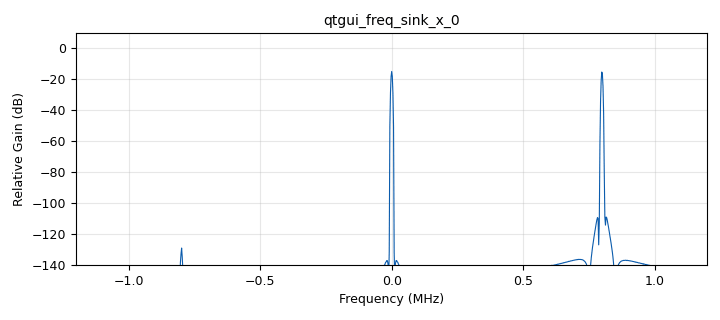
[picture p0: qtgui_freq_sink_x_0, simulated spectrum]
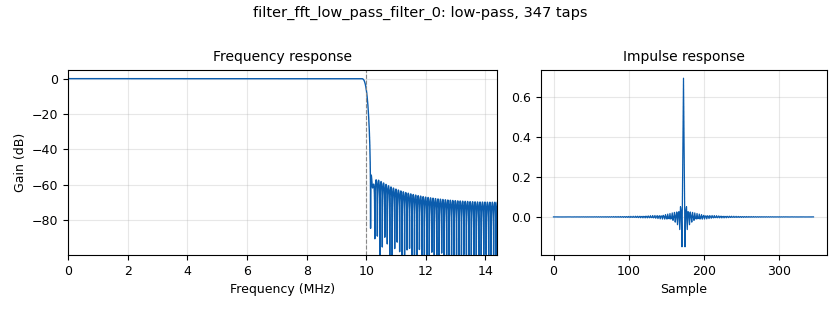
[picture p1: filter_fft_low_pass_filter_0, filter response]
options:
  parameters:
    author: pmaine
    generate_options: qt_gui
    id: ddc
    output_language: python
    title: DDC
  states: {}

blocks:
- name: lo
  id: variable
  parameters:
    value: '28800000'
  states: {}
- name: samp_rate
  id: variable
  parameters:
    value: '28800000'
  states: {}
- name: start_freq
  id: variable
  parameters:
    value: 10e6
  states: {}
- name: analog_sig_source_x_0
  id: analog_sig_source_x
  parameters:
    alias: antenna_source
    amp: '1'
    freq: start_freq
    offset: '0'
    phase: '0'
    samp_rate: samp_rate
    type: float
    waveform: analog.GR_COS_WAVE
  states: {}
- name: analog_sig_source_x_0_0
  id: analog_sig_source_x
  parameters:
    amp: '1'
    freq: start_freq
    offset: '0'
    phase: '0'
    samp_rate: samp_rate
    type: float
    waveform: analog.GR_SIN_WAVE
  states: {}
- name: analog_sig_source_x_1
  id: analog_sig_source_x
  parameters:
    amp: '1'
    comment: This is the signal source from an antenna
    freq: start_freq
    offset: '0'
    phase: '0'
    samp_rate: samp_rate
    type: float
    waveform: analog.GR_COS_WAVE
  states: {}
- name: blocks_float_to_complex_0
  id: blocks_float_to_complex
  parameters: {}
  states: {}
- name: blocks_multiply_xx_0
  id: blocks_multiply_xx
  parameters:
    type: float
  states: {}
- name: blocks_multiply_xx_1
  id: blocks_multiply_xx
  parameters:
    type: float
  states: {}
- name: blocks_throttle2_0
  id: blocks_throttle2
  parameters:
    samples_per_second: samp_rate
    type: complex
  states: {}
- name: filter_fft_low_pass_filter_0
  id: filter_fft_low_pass_filter
  parameters:
    cutoff_freq: 10e6
    decim: '12'
    gain: '1'
    samp_rate: samp_rate
    type: fff
    width: 200e3
    win: window.WIN_HAMMING
  states: {}
- name: filter_fft_low_pass_filter_0_0
  id: filter_fft_low_pass_filter
  parameters:
    cutoff_freq: 10e6
    decim: '12'
    gain: '1'
    samp_rate: samp_rate
    type: fff
    width: 200e3
    win: window.WIN_HAMMING
  states: {}
- name: qtgui_freq_sink_x_0
  id: qtgui_freq_sink_x
  parameters:
    bw: samp_rate/12
    fc: '0'
    fftsize: '1024'
    freqhalf: 'False'
    type: complex
  states: {}

connections:
- [analog_sig_source_x_0, '0', blocks_multiply_xx_0, '0']
- [analog_sig_source_x_0_0, '0', blocks_multiply_xx_1, '0']
- [analog_sig_source_x_1, '0', blocks_multiply_xx_0, '1']
- [analog_sig_source_x_1, '0', blocks_multiply_xx_1, '1']
- [blocks_float_to_complex_0, '0', blocks_throttle2_0, '0']
- [blocks_multiply_xx_0, '0', filter_fft_low_pass_filter_0, '0']
- [blocks_multiply_xx_1, '0', filter_fft_low_pass_filter_0_0, '0']
- [blocks_throttle2_0, '0', qtgui_freq_sink_x_0, '0']
- [filter_fft_low_pass_filter_0, '0', blocks_float_to_complex_0, '0']
- [filter_fft_low_pass_filter_0_0, '0', blocks_float_to_complex_0, '1']

metadata:
  file_format: 1
  grc_version: 3.10.12.0
